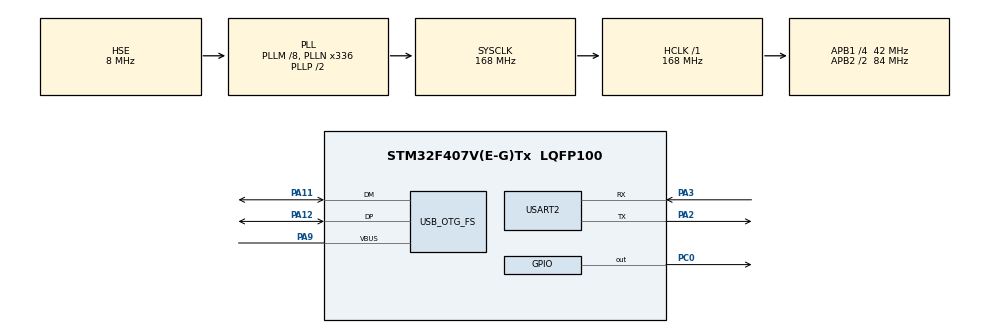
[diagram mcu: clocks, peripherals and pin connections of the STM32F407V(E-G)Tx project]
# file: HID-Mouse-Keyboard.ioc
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Mcu.Family=STM32F4
Mcu.Name=STM32F407V(E-G)Tx
Mcu.Package=LQFP100
NVIC.OTG_FS_IRQn=true\:0\:0\:false\:false\:true\:true\:true\:true
NVIC.PriorityGroup=NVIC_PRIORITYGROUP_0
PA11.Mode=Host_Only
PA11.Signal=USB_OTG_FS_DM
PA12.Mode=Host_Only
PA12.Signal=USB_OTG_FS_DP
PA2.Mode=Asynchronous
PA2.Signal=USART2_TX
PA3.Mode=Asynchronous
PA3.Signal=USART2_RX
PA9.Mode=Activate_VBUS
PA9.Signal=USB_OTG_FS_VBUS
PC0.Signal=GPIO_Output
PH0-OSC_IN.Mode=HSE-External-Oscillator
PH0-OSC_IN.Signal=RCC_OSC_IN
PH1-OSC_OUT.Mode=HSE-External-Oscillator
PH1-OSC_OUT.Signal=RCC_OSC_OUT
ProjectManager.HeapSize=0x200
ProjectManager.StackSize=0x400
ProjectManager.TargetToolchain=STM32CubeIDE
RCC.48MHZClocksFreq_Value=48000000
RCC.AHBFreq_Value=168000000
RCC.APB1CLKDivider=RCC_HCLK_DIV4
RCC.APB1Freq_Value=42000000
RCC.APB1TimFreq_Value=84000000
RCC.APB2CLKDivider=RCC_HCLK_DIV2
RCC.APB2Freq_Value=84000000
RCC.APB2TimFreq_Value=168000000
RCC.CortexFreq_Value=168000000
RCC.HCLKFreq_Value=168000000
RCC.HSE_VALUE=8000000
RCC.HSI_VALUE=16000000
RCC.PLLM=8
RCC.PLLN=336
RCC.PLLQ=7
RCC.SYSCLKFreq_VALUE=168000000
RCC.SYSCLKSource=RCC_SYSCLKSOURCE_PLLCLK
RCC.VCOOutputFreq_Value=336000000
USART2.VirtualMode=VM_ASYNC
USB_HOST.BSP.number=1
USB_HOST.USBH_HandleTypeDef-HID_FS=hUsbHostFS
USB_HOST.VirtualModeFS=Hid
USB_HOST0.BSP.STBoard=false
USB_HOST0.BSP.api=Unknown
USB_HOST0.BSP.condition=SW_VBUS_DRIVE_HID_FS \= false
USB_HOST0.BSP.instance=PC0
USB_HOST0.BSP.ip=GPIO
USB_HOST0.BSP.mode=Output
USB_HOST0.BSP.name=Drive_VBUS_FS
USB_HOST0.BSP.solution=PC0
USB_OTG_FS.VirtualMode=Host_Only
USB_OTG_FS.phy_itface=HCD_PHY_EMBEDDED
VP_USB_HOST_VS_USB_HOST_HID_FS.Mode=HID_FS
board=STM32F407G-DISC1

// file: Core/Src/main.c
/* USER CODE BEGIN Header */
/**
 ******************************************************************************
 * @file           : main.c
 * @brief          : Main program body
 ******************************************************************************
 * @attention
 *
 * Copyright (c) 2024 STMicroelectronics.
 * All rights reserved.
 *
 * This software is licensed under terms that can be found in the LICENSE file
 * in the root directory of this software component.
 * If no LICENSE file comes with this software, it is provided AS-IS.
 *
 ******************************************************************************
 */
/* USER CODE END Header */
#include "main.h"
#include "usb_host.h"

/* USER CODE BEGIN Includes */
#include "usbh_hid.h"
#include <stdio.h>
/* USER CODE END Includes */

UART_HandleTypeDef huart2;

void SystemClock_Config(void);
static void MX_GPIO_Init(void);
static void MX_USART2_UART_Init(void);
void MX_USB_HOST_Process(void);

/* USER CODE BEGIN 0 */

char Uart_Buf[100];
void USBH_HID_EventCallback(USBH_HandleTypeDef *phost) {
	if (USBH_HID_GetDeviceType(phost) == HID_MOUSE) {
		HID_MOUSE_Info_TypeDef *pmouse;
		pmouse = USBH_HID_GetMouseInfo(phost);
		int X_Val = pmouse->x;
		int Y_Val = pmouse->y;
		if (X_Val > 127)
			X_Val -= 255;
		if (Y_Val > 127)
			Y_Val -= 255;
		int len = sprintf(Uart_Buf,
				"X=%d , Y=%d , Button1=%d ,  Button2=%d ,  Button3=%d \n",
				X_Val, Y_Val, pmouse->buttons[0], pmouse->buttons[1],
				pmouse->buttons[2]);

		HAL_UART_Transmit(&huart2, (uint8_t*) Uart_Buf, len, HAL_MAX_DELAY);
	}

	if (USBH_HID_GetDeviceType(phost) == HID_KEYBOARD) {
		HID_KEYBD_Info_TypeDef *pKeyboard;
		pKeyboard = USBH_HID_GetKeybdInfo(phost);
		char key = USBH_HID_GetASCIICode(&pKeyboard);

		int len = sprintf(Uart_Buf, "Key Pressed - %c\n", key);
		HAL_UART_Transmit(&huart2, (uint8_t*) Uart_Buf, len, HAL_MAX_DELAY);
	}
}
/* USER CODE END 0 */

int main(void) {

	/* MCU Configuration--------------------------------------------------------*/

	/* Reset of all peripherals, Initializes the Flash interface and the Systick. */
	HAL_Init();

	/* Configure the system clock */
	SystemClock_Config();

	/* Initialize all configured peripherals */
	MX_GPIO_Init();
	MX_USB_HOST_Init();
	MX_USART2_UART_Init();

	/* Infinite loop */
	while (1) {
		MX_USB_HOST_Process();

	}
}

void SystemClock_Config(void) {
	RCC_OscInitTypeDef RCC_OscInitStruct = { 0 };
	RCC_ClkInitTypeDef RCC_ClkInitStruct = { 0 };

	/** Configure the main internal regulator output voltage
	 */
	__HAL_RCC_PWR_CLK_ENABLE();
	__HAL_PWR_VOLTAGESCALING_CONFIG(PWR_REGULATOR_VOLTAGE_SCALE1);

	/** Initializes the RCC Oscillators according to the specified parameters
	 * in the RCC_OscInitTypeDef structure.
	 */
	RCC_OscInitStruct.OscillatorType = RCC_OSCILLATORTYPE_HSE;
	RCC_OscInitStruct.HSEState = RCC_HSE_ON;
	RCC_OscInitStruct.PLL.PLLState = RCC_PLL_ON;
	RCC_OscInitStruct.PLL.PLLSource = RCC_PLLSOURCE_HSE;
	RCC_OscInitStruct.PLL.PLLM = 8;
	RCC_OscInitStruct.PLL.PLLN = 336;
	RCC_OscInitStruct.PLL.PLLP = RCC_PLLP_DIV2;
	RCC_OscInitStruct.PLL.PLLQ = 7;
	if (HAL_RCC_OscConfig(&RCC_OscInitStruct) != HAL_OK) {
		Error_Handler();
	}

	/** Initializes the CPU, AHB and APB buses clocks
	 */
	RCC_ClkInitStruct.ClockType = RCC_CLOCKTYPE_HCLK | RCC_CLOCKTYPE_SYSCLK
			| RCC_CLOCKTYPE_PCLK1 | RCC_CLOCKTYPE_PCLK2;
	RCC_ClkInitStruct.SYSCLKSource = RCC_SYSCLKSOURCE_PLLCLK;
	RCC_ClkInitStruct.AHBCLKDivider = RCC_SYSCLK_DIV1;
	RCC_ClkInitStruct.APB1CLKDivider = RCC_HCLK_DIV4;
	RCC_ClkInitStruct.APB2CLKDivider = RCC_HCLK_DIV2;

	if (HAL_RCC_ClockConfig(&RCC_ClkInitStruct, FLASH_LATENCY_5) != HAL_OK) {
		Error_Handler();
	}
}

static void MX_USART2_UART_Init(void) {

	huart2.Instance = USART2;
	huart2.Init.BaudRate = 115200;
	huart2.Init.WordLength = UART_WORDLENGTH_8B;
	huart2.Init.StopBits = UART_STOPBITS_1;
	huart2.Init.Parity = UART_PARITY_NONE;
	huart2.Init.Mode = UART_MODE_TX_RX;
	huart2.Init.HwFlowCtl = UART_HWCONTROL_NONE;
	huart2.Init.OverSampling = UART_OVERSAMPLING_16;
	if (HAL_UART_Init(&huart2) != HAL_OK) {
		Error_Handler();
	}

}

static void MX_GPIO_Init(void) {
	GPIO_InitTypeDef GPIO_InitStruct = { 0 };

	/* GPIO Ports Clock Enable */
	__HAL_RCC_GPIOH_CLK_ENABLE();
	__HAL_RCC_GPIOC_CLK_ENABLE();
	__HAL_RCC_GPIOA_CLK_ENABLE();

	/*Configure GPIO pin Output Level */
	HAL_GPIO_WritePin(GPIOC, GPIO_PIN_0, GPIO_PIN_RESET);

	/*Configure GPIO pin : PC0 */
	GPIO_InitStruct.Pin = GPIO_PIN_0;
	GPIO_InitStruct.Mode = GPIO_MODE_OUTPUT_PP;
	GPIO_InitStruct.Pull = GPIO_NOPULL;
	GPIO_InitStruct.Speed = GPIO_SPEED_FREQ_LOW;
	HAL_GPIO_Init(GPIOC, &GPIO_InitStruct);

}

void Error_Handler(void) {
	__disable_irq();
	while (1) {
	}
}
